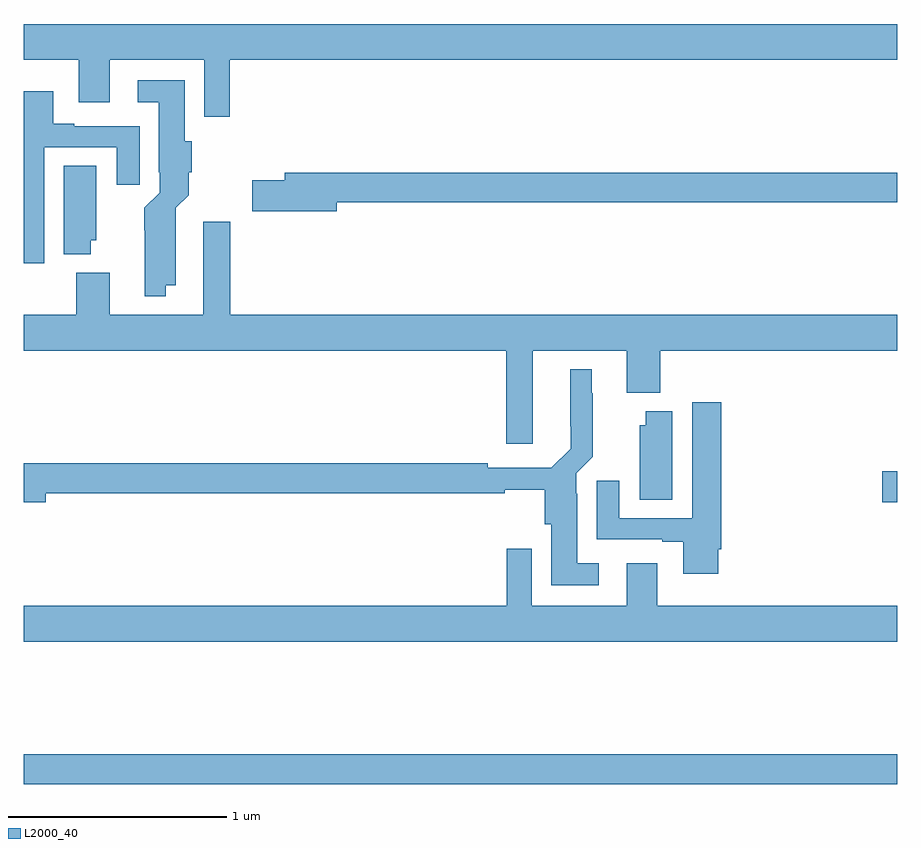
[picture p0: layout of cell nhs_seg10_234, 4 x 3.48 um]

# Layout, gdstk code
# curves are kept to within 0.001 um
import gdstk
lib = gdstk.Library(unit=1e-6, precision=1e-09)
def R(c, l, rs):  # rectangles x0, y0, x1, y1
    for r in rs: c.add(gdstk.rectangle(r[:2], r[2:], *l))
def P(c, l, *ps):  # polygons
    for p in ps: c.add(gdstk.Polygon(p, *l))
L2000_40 = (2000, 40)

nhs_seg10_234 = lib.new_cell('nhs_seg10_234')
R(nhs_seg10_234, L2000_40, [(121,1316.98,125,1317.116), (124.932,1318.27,125,1318.412)])
P(nhs_seg10_234, L2000_40, [(121.943,1320.296),(125,1320.296),(125,1320.46),(121,1320.46),(121,1320.296),(121.253,1320.296),(121.253,1320.102),(121.393,1320.102),(121.393,1320.296),(121.827,1320.296),(121.827,1320.036),(121.943,1320.036)],
  [(121.651,1319.264),(121.696,1319.264),(121.697,1319.618),(121.756,1319.677),(121.756,1319.782),(121.769,1319.782),(121.769,1319.922),(121.738,1319.922),(121.738,1320.202),(121.521,1320.202),(121.521,1320.101),(121.619,1320.101),(121.619,1319.782),(121.623,1319.782),(121.623,1319.688),(121.553,1319.618),(121.554,1319.213),(121.651,1319.213)],
  [(121.093,1319.895),(121.427,1319.895),(121.427,1319.724),(121.531,1319.724),(121.531,1319.991),(121.231,1319.991),(121.231,1320.004),(121.135,1320.004),(121.135,1320.151),(121,1320.151),(121,1319.364),(121.093,1319.364)],
  [(121.306,1319.469),(121.333,1319.469),(121.333,1319.81),(121.184,1319.81),(121.184,1319.405),(121.306,1319.405)],
  [(122.434,1319.644),(125,1319.644),(125,1319.78),(122.195,1319.78),(122.195,1319.744),(122.046,1319.744),(122.046,1319.602),(122.434,1319.602)],
  [(123.331,1318.964),(123.761,1318.964),(123.761,1318.772),(123.914,1318.772),(123.914,1318.964),(125,1318.964),(125,1319.128),(121.946,1319.128),(121.946,1319.554),(121.823,1319.554),(121.823,1319.128),(121.393,1319.128),(121.393,1319.32),(121.241,1319.32),(121.241,1319.128),(121,1319.128),(121,1318.964),(123.209,1318.964),(123.209,1318.539),(123.331,1318.539)],
  [(123.634,1317.991),(123.535,1317.991),(123.535,1318.31),(123.531,1318.31),(123.531,1318.404),(123.605,1318.478),(123.605,1318.769),(123.601,1318.769),(123.601,1318.879),(123.503,1318.879),(123.504,1318.516),(123.416,1318.428),(123.125,1318.428),(123.125,1318.448),(121,1318.448),(121,1318.27),(121.102,1318.27),(121.102,1318.312),(123.202,1318.312),(123.202,1318.327),(123.386,1318.327),(123.386,1318.17),(123.416,1318.17),(123.416,1317.89),(123.634,1317.89)],
  [(124.18,1318.054),(124.193,1318.054),(124.193,1318.729),(124.061,1318.729),(124.061,1318.197),(123.727,1318.197),(123.727,1318.369),(123.623,1318.369),(123.623,1318.101),(123.923,1318.101),(123.923,1318.089),(124.019,1318.089),(124.019,1317.942),(124.18,1317.942)],
  [(123.97,1318.687),(123.848,1318.687),(123.848,1318.623),(123.821,1318.623),(123.821,1318.282),(123.97,1318.282)],
  [(125,1317.796),(123.901,1317.796),(123.901,1317.991),(123.761,1317.991),(123.761,1317.796),(123.327,1317.796),(123.327,1318.057),(123.211,1318.057),(123.211,1317.796),(121,1317.796),(121,1317.632),(125,1317.632)])

lib.write_gds('nhs_seg10_234.gds')
